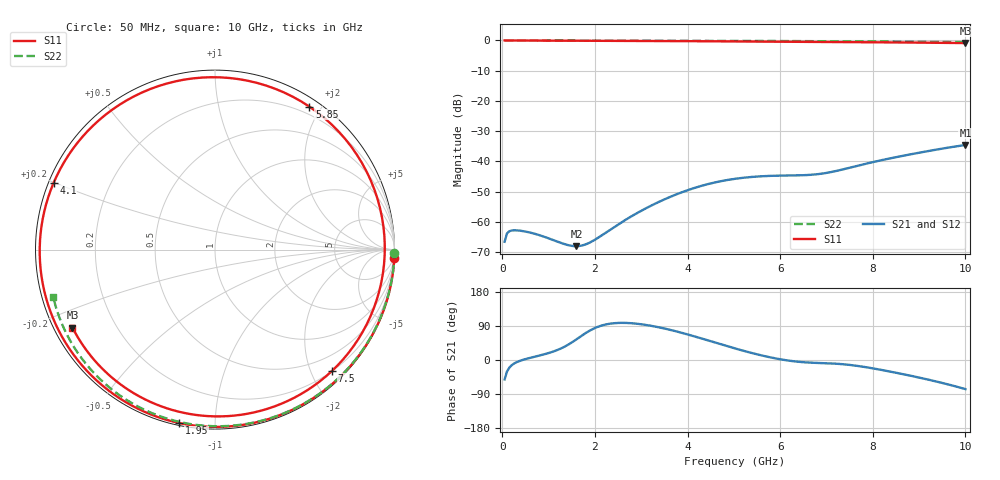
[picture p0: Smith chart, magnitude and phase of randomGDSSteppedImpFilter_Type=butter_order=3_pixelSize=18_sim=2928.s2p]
! freq	dB(S11)	phase(S11)	dB(S12)	phase(S12)
!  dB(S21)	phase(S21)	dB(S22)	phase(S22)
!S-par simulation data
#  GHz  S  DB  R 50
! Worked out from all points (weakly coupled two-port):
!   200 points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, 50 MHz to 10 GHz, reference 50 ohm
!   highest |S21| = -34.58 dB at 10 GHz (marker M1); lowest = -68.0 dB at 1.6 GHz (marker M2)
!   lowest |S11| = -0.9 dB at 10 GHz (marker M3), VSWR 20.10, Z = 2.65 - j12.8 ohm
!   |S11| at or under -10 dB: nowhere
!   |S22| runs from -0.5 to 0.0 dB; largest |S21 - S12| = 0
!   S11 on the Smith chart (normalised r, x): 50 MHz: 0, -41; 1.95 GHz: 0.01, -0.82; 4.1 GHz: 0.01, +0.20; 5.85 GHz: 0.10, +1.85; 7.5 GHz: 0.20, -2.34; 10 GHz: 0.05, -0.26
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0.05  -0.00 -2.8  -66.55 -51.3  -66.55 -51.3  -0.00 -1.0
0.1  -0.00 -5.5  -63.83 -31.0  -63.83 -31.0  -0.00 -1.9
0.3  -0.01 -16.6  -62.78 -6.3  -62.78 -6.3  -0.00 -5.7
1  -0.06 -54.2  -65.43 18.3  -65.43 18.3  -0.02 -18.8
1.6  -0.10 -84.6  -68.02 54.4  -68.02 54.4  -0.04 -29.9
1.75  -0.11 -91.9  -67.68 67.0  -67.68 67.0  -0.04 -32.7
1.95  -0.12 -101.6  -66.34 81.5  -66.34 81.5  -0.05 -36.3
2.7  -0.15 -136.6  -58.95 97.7  -58.95 97.7  -0.06 -49.7
3.4  -0.19 -168.8  -53.25 85.8  -53.25 85.8  -0.08 -61.9
4.1  -0.24 157.6  -49.01 64.1  -49.01 64.1  -0.10 -73.7
4.55  -0.28 134.3  -47.09 47.7  -47.09 47.7  -0.12 -81.1
5.05  -0.32 106.2  -45.69 29.7  -45.69 29.7  -0.14 -89.1
5.45  -0.36 82.1  -45.05 16.5  -45.05 16.5  -0.15 -95.4
5.85  -0.40 56.6  -44.75 5.4  -44.75 5.4  -0.17 -101.7
6.3  -0.45 27.2  -44.63 -3.5  -44.63 -3.5  -0.20 -108.6
6.7  -0.48 1.4  -44.38 -7.2  -44.38 -7.2  -0.22 -114.6
7.05  -0.51 -20.2  -43.66 -8.8  -43.66 -8.8  -0.25 -119.8
7.5  -0.55 -46.0  -42.10 -12.9  -42.10 -12.9  -0.28 -126.5
7.9  -0.58 -66.8  -40.59 -19.9  -40.59 -19.9  -0.32 -132.4
8.35  -0.63 -88.0  -39.07 -29.9  -39.07 -29.9  -0.36 -139.1
9.2  -0.74 -122.7  -36.56 -51.8  -36.56 -51.8  -0.45 -151.7
10  -0.87 -151.3  -34.58 -76.8  -34.58 -76.8  -0.55 -163.8
